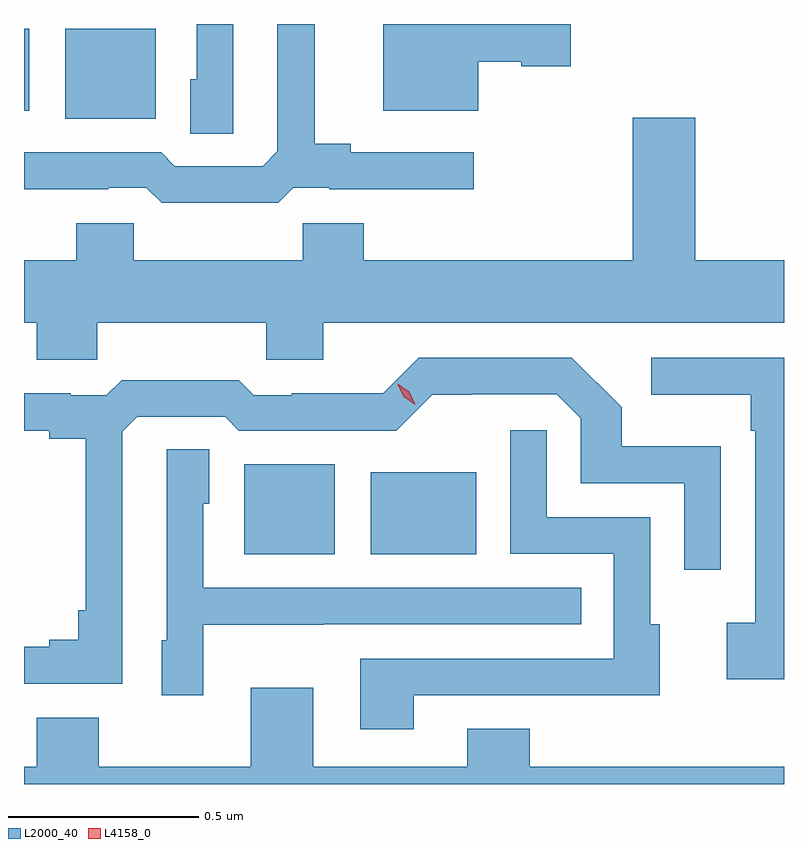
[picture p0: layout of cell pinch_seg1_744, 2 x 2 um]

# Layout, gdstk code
import gdstk
lib = gdstk.Library(unit=1e-6, precision=1e-09)
def R(c, l, rs):  # rectangles x0, y0, x1, y1
    for r in rs: c.add(gdstk.rectangle(r[:2], r[2:], *l))
def P(c, l, *ps):  # polygons
    for p in ps: c.add(gdstk.Polygon(p, *l))
L2000_40 = (2000, 40)
L4158_0 = (4158, 0)

pinch_seg1_744 = lib.new_cell('pinch_seg1_744')
R(pinch_seg1_744, L2000_40, [(643.505,519.155,643.744,519.391), (643.838,519.155,644.116,519.37), (643.034,520.301,643.273,520.537), (642.926,520.322,642.94,520.537)])
P(pinch_seg1_744, L2000_40, [(643.476,520.55),(643.38,520.55),(643.38,520.404),(643.364,520.404),(643.364,520.261),(643.476,520.261)],
  [(643.635,520.119),(643.729,520.119),(643.729,520.115),(644.11,520.115),(644.11,520.212),(643.786,520.212),(643.786,520.235),(643.691,520.235),(643.691,520.55),(643.593,520.55),(643.593,520.215),(643.554,520.176),(643.323,520.176),(643.287,520.212),(642.926,520.212),(642.926,520.115),(643.148,520.115),(643.148,520.119),(643.248,520.119),(643.288,520.08),(643.595,520.08)],
  [(644.122,520.451),(644.235,520.451),(644.235,520.439),(644.365,520.439),(644.365,520.55),(643.871,520.55),(643.871,520.322),(644.122,520.322)],
  [(643.119,519.764),(643.564,519.764),(643.564,519.666),(643.714,519.666),(643.714,519.764),(644.926,519.764),(644.926,519.928),(644.692,519.928),(644.692,520.303),(644.528,520.303),(644.528,519.928),(643.82,519.928),(643.82,520.026),(643.66,520.026),(643.66,519.928),(643.215,519.928),(643.215,520.026),(643.064,520.026),(643.064,519.928),(642.926,519.928),(642.926,519.764),(642.959,519.764),(642.959,519.666),(643.119,519.666)],
  [(643.185,519.477),(643.224,519.516),(643.455,519.516),(643.491,519.48),(643.905,519.48),(644,519.575),(644.104,519.575),(644.104,519.576),(644.328,519.576),(644.391,519.513),(644.391,519.342),(644.664,519.342),(644.664,519.114),(644.76,519.114),(644.76,519.439),(644.499,519.439),(644.499,519.542),(644.368,519.672),(643.965,519.672),(643.871,519.578),(643.63,519.578),(643.63,519.573),(643.53,519.573),(643.491,519.613),(643.183,519.613),(643.143,519.573),(643.049,519.573),(643.049,519.578),(642.926,519.578),(642.926,519.48),(642.992,519.48),(642.992,519.458),(643.088,519.458),(643.088,519.007),(643.069,519.007),(643.069,518.93),(642.992,518.93),(642.992,518.911),(642.926,518.911),(642.926,518.814),(643.185,518.814)],
  [(644.926,519.672),(644.577,519.672),(644.577,519.575),(644.838,519.575),(644.838,519.479),(644.85,519.479),(644.85,518.974),(644.775,518.974),(644.775,518.826),(644.926,518.826)],
  [(643.951,518.784),(644.381,518.784),(644.381,518.783),(644.599,518.783),(644.599,518.97),(644.574,518.97),(644.574,519.252),(644.301,519.252),(644.301,519.481),(644.205,519.481),(644.205,519.156),(644.478,519.156),(644.478,518.88),(643.811,518.88),(643.811,518.694),(643.951,518.694)],
  [(643.398,518.969),(643.715,518.969),(643.715,518.97),(644.393,518.97),(644.393,519.066),(643.398,519.066),(643.398,519.288),(643.414,519.288),(643.414,519.431),(643.302,519.431),(643.302,518.928),(643.289,518.928),(643.289,518.784),(643.398,518.784)],
  [(644.926,518.596),(644.257,518.596),(644.257,518.695),(644.093,518.695),(644.093,518.596),(643.687,518.596),(643.687,518.803),(643.523,518.803),(643.523,518.596),(643.123,518.596),(643.123,518.725),(642.959,518.725),(642.959,518.596),(642.926,518.596),(642.926,518.55),(644.926,518.55)])
P(pinch_seg1_744, L4158_0, [(643.956,519.548),(643.925,519.569),(643.909,519.602),(643.909,519.603),(643.909,519.603),(643.94,519.582),(643.956,519.548),(643.956,519.548)])

lib.write_gds('pinch_seg1_744.gds')
